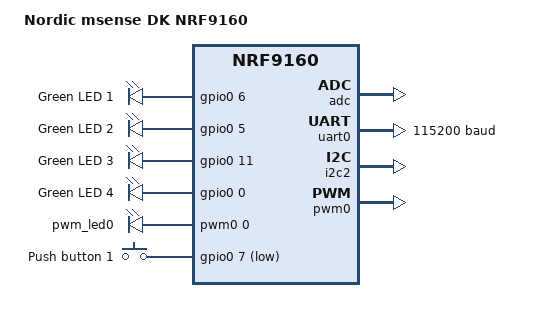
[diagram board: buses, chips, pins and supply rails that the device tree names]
/*
 * Copyright (c) 2018-2020 Nordic Semiconductor ASA
 *
 * SPDX-License-Identifier: Apache-2.0
 */
#include "msensedk_nrf9160_common-pinctrl.dtsi"
#include <zephyr/dt-bindings/input/input-event-codes.h>

/ {
	model = "Nordic msense DK NRF9160";
	compatible = "nordic,nrf9160-dk-nrf9160";

	chosen {
		zephyr,console = &uart0;
		zephyr,shell-uart = &uart0;
		zephyr,uart-mcumgr = &uart0;
	};

	leds {
		compatible = "gpio-leds";
		led0: led_0 {
			gpios = <&gpio0 6 0>;
			label = "Green LED 1";
		};
		led1: led_1 {
			gpios = <&gpio0 5 0>;
			label = "Green LED 2";
		};
		led2: led_2 {
			gpios = <&gpio0 11 0>;
			label = "Green LED 3";
		};
		led3: led_3 {
			gpios = <&gpio0 0 0>;
			label = "Green LED 4";
		};
	};

	pwmleds {
		compatible = "pwm-leds";
		pwm_led0: pwm_led_0 {
			pwms = <&pwm0 0 PWM_MSEC(20) PWM_POLARITY_NORMAL>;
		};
	};

	buttons {
		/*
		 * Unlike most DK boards, we do not actually have 4 buttons
		 * on msense DK. Instead, we have 2 buttons and 2 switches.
		 * Treat the switches as buttons anyway, for convenience.
		 * This makes life easier for software that wants to deal with
		 * the usual "4 buttons per DK board" convention.
		 */
		compatible = "gpio-keys";
		button0: button_0 {
			gpios = <&gpio0 7 (GPIO_PULL_UP | GPIO_ACTIVE_LOW)>;
			label = "Push button 1";
			zephyr,code = <INPUT_KEY_0>;
		};
		/*button1: button_1 {
			gpios = <&gpio0 7 (GPIO_PULL_UP | GPIO_ACTIVE_LOW)>;
			label = "Push button 2";
			zephyr,code = <INPUT_KEY_1>;
		};
		button2: button_2 {
			gpios = <&gpio0 8 (GPIO_PULL_UP | GPIO_ACTIVE_LOW)>;
			label = "Switch 1";
			zephyr,code = <INPUT_KEY_2>;
		};
		button3: button_3 {
			gpios = <&gpio0 9 (GPIO_PULL_UP | GPIO_ACTIVE_LOW)>;
			label = "Switch 2";
			zephyr,code = <INPUT_KEY_3>;
		};*/
	};

	/* These aliases are provided for compatibility with samples */
	aliases {
		led0 = &led0;
		led1 = &led1;
		led2 = &led2;
		led3 = &led3;
		pwm-led0 = &pwm_led0;
		sw0 = &button0;
		/*sw1 = &button1;
		sw2 = &button2;
		sw3 = &button3;*/
		bootloader-led0 = &led0;
		mcuboot-button0 = &button0;
		mcuboot-led0 = &led0;
		watchdog0 = &wdt0;
	};
};

&adc {
	status = "okay";
};

&gpiote {
	status = "okay";
};

&gpio0 {
	status = "okay";
};

&uart0 {
	status = "okay";
	current-speed = <115200>;
	pinctrl-0 = <&uart0_default>;
	pinctrl-1 = <&uart0_sleep>;
	pinctrl-names = "default", "sleep";
};

arduino_i2c: &i2c2 {
	compatible = "nordic,nrf-twim";
	status = "okay";
	pinctrl-0 = <&i2c2_default>;
	pinctrl-1 = <&i2c2_sleep>;
	pinctrl-names = "default", "sleep";

};

&pwm0 {
	status = "okay";
	pinctrl-0 = <&pwm0_default>;
	pinctrl-1 = <&pwm0_sleep>;
	pinctrl-names = "default", "sleep";
};


&flash0 {

	partitions {
		compatible = "fixed-partitions";
		#address-cells = <1>;
		#size-cells = <1>;

		boot_partition: partition@0 {
			label = "mcuboot";
			reg = <0x00000000 0x10000>;
		};
		slot0_partition: partition@10000 {
			label = "image-0";
		};
		slot0_ns_partition: partition@50000 {
			label = "image-0-nonsecure";
		};
		slot1_partition: partition@80000 {
			label = "image-1";
		};
		slot1_ns_partition: partition@c0000 {
			label = "image-1-nonsecure";
		};
		/* 0xf0000 to 0xf7fff reserved for TF-M partitions */
		storage_partition: partition@f8000 {
			label = "storage";
			reg = <0x000f8000 0x00008000>;
		};
	};
};

/ {

	reserved-memory {
		#address-cells = <1>;
		#size-cells = <1>;
		ranges;

		sram0_s: image_s@20000000 {
			/* Secure image memory */
		};

		sram0_modem: image_modem@20016000 {
			/* Modem (shared) memory */
		};

		sram0_ns: image_ns@20020000 {
			/* Non-Secure image memory */
		};
	};
};

/* Include partition configuration file */
#include "msensedk_nrf9160_partition_conf.dtsi"
